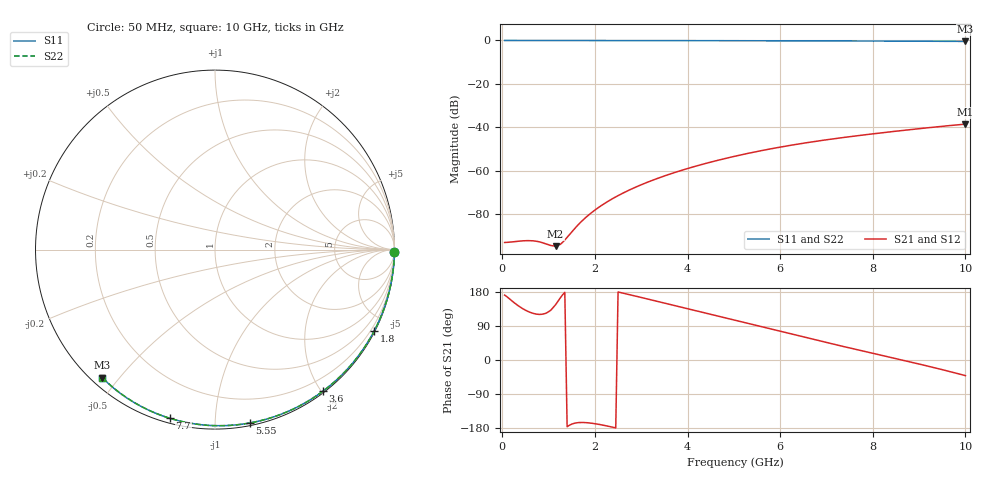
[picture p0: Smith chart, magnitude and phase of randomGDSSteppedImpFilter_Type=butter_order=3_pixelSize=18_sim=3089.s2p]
! freq	dB(S11)	phase(S11)	dB(S12)	phase(S12)
!  dB(S21)	phase(S21)	dB(S22)	phase(S22)
!S-par simulation data
#  GHz  S  DB  R 50
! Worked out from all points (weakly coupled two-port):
!   200 points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, 50 MHz to 10 GHz, reference 50 ohm
!   highest |S21| = -38.48 dB at 10 GHz (marker M1); lowest = -94.6 dB at 1.15 GHz (marker M2)
!   lowest |S11| = -0.4 dB at 10 GHz (marker M3), VSWR 39.12, Z = 1.54 - j22.6 ohm
!   |S11| at or under -10 dB: nowhere
!   |S22| runs from -0.4 to 0.0 dB; largest |S21 - S12| = 0
!   S11 on the Smith chart (normalised r, x): 50 MHz: open; 1.8 GHz: 0.04, -4.18; 3.6 GHz: 0.02, -2.02; 5.55 GHz: 0.02, -1.22; 7.7 GHz: 0.02, -0.77; 10 GHz: 0.03, -0.45
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0.05  -0.00 -0.8  -92.91 171.3  -92.91 171.3  -0.00 -0.8
0.6  -0.01 -9.1  -92.07 125.9  -92.07 125.9  -0.01 -9.1
1.15  -0.02 -17.3  -94.60 145.8  -94.60 145.8  -0.02 -17.3
1.75  -0.03 -26.2  -82.42 -164.9  -82.42 -164.9  -0.03 -26.2
1.8  -0.03 -26.9  -81.45 -165.2  -81.45 -165.2  -0.03 -26.9
1.85  -0.04 -27.7  -80.53 -165.7  -80.53 -165.7  -0.04 -27.7
1.9  -0.04 -28.4  -79.65 -166.3  -79.65 -166.3  -0.04 -28.4
2.05  -0.04 -30.6  -77.23 -169.1  -77.23 -169.1  -0.04 -30.6
2.25  -0.04 -33.5  -74.40 -173.8  -74.40 -173.8  -0.04 -33.5
2.65  -0.05 -39.3  -69.72 175.2  -69.72 175.2  -0.05 -39.3
3  -0.06 -44.2  -66.36 165.0  -66.36 165.0  -0.06 -44.2
3.4  -0.07 -49.9  -63.06 153.2  -63.06 153.2  -0.07 -49.9
3.6  -0.07 -52.6  -61.59 147.3  -61.59 147.3  -0.07 -52.7
4.3  -0.09 -62.2  -57.08 126.5  -57.08 126.5  -0.09 -62.2
5.05  -0.11 -72.2  -53.11 104.1  -53.11 104.1  -0.11 -72.2
5.55  -0.13 -78.6  -50.86 89.1  -50.86 89.1  -0.13 -78.6
6.1  -0.15 -85.6  -48.68 72.6  -48.68 72.6  -0.15 -85.6
6.7  -0.18 -93.0  -46.61 54.9  -46.61 54.9  -0.18 -93.0
7.7  -0.24 -105.0  -43.72 26.1  -43.72 26.1  -0.24 -105.0
8.35  -0.28 -112.5  -42.09 7.8  -42.09 7.8  -0.29 -112.6
9.15  -0.35 -121.7  -40.24 -15.0  -40.24 -15.0  -0.36 -121.8
10  -0.44 -131.3  -38.48 -41.3  -38.48 -41.3  -0.45 -131.4
